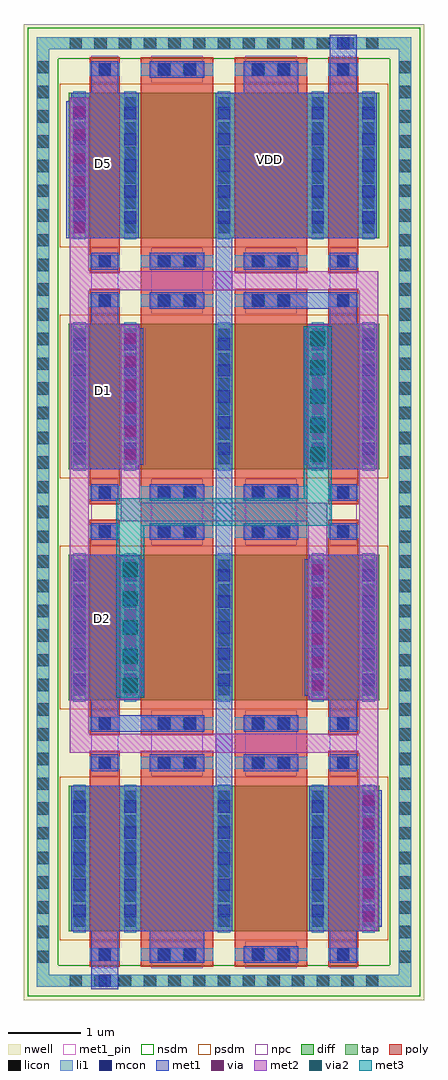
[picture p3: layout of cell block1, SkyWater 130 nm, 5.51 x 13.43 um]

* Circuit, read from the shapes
.subckt block1 D1 D2 D5 VDD
XM1 VDD VDD VDD VDD sky130_fd_pr__pfet_01v8 w=2 l=0.41 m=2
XM2 D2 D2 D2 VDD sky130_fd_pr__pfet_01v8 w=2 l=0.41 m=2
XM3 D1 D1 D1 VDD sky130_fd_pr__pfet_01v8 w=2 l=0.41 m=2
XM4 D5 D5 D5 VDD sky130_fd_pr__pfet_01v8 w=2 l=0.41 m=2
XM5 VDD VDD VDD VDD sky130_fd_pr__pfet_01v8 w=2 l=1 m=2
XM6 VDD D2 D2 VDD sky130_fd_pr__pfet_01v8 w=2 l=1 m=2
XM7 VDD D2 D1 VDD sky130_fd_pr__pfet_01v8 w=2 l=1 m=2
XM8 VDD D2 D5 VDD sky130_fd_pr__pfet_01v8 w=2 l=1 m=2
.ends

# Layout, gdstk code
import gdstk
lib = gdstk.Library(unit=1e-6, precision=1e-09)
def R(c, l, rs):  # rectangles x0, y0, x1, y1
    for r in rs: c.add(gdstk.rectangle(r[:2], r[2:], *l))
def A(c, l, x, y, w, h, nx, ny, dx, dy):  # array of equal rectangles
    R(c, l, [(x+i*dx, y+j*dy, x+i*dx+w, y+j*dy+h) for i in range(nx) for j in range(ny)])
nwell = (64, 20)
diff = (65, 20)
tap = (65, 44)
poly = (66, 20)
licon = (66, 44)
li1 = (67, 20)
mcon = (67, 44)
met1_pin = (68, 16)
met1 = (68, 20)
via = (68, 44)
met2 = (69, 20)
via2 = (69, 44)
met3 = (70, 20)
nsdm = (93, 44)
psdm = (94, 20)
npc = (95, 20)

sky130_fd_pr__pfet_01v8_ = lib.new_cell('sky130_fd_pr__pfet_01v8_SD2LB7')
A(sky130_fd_pr__pfet_01v8_, nwell, -1.615, -6.27, 3.23, 3, 1, 4, 0, 3.18)
A(sky130_fd_pr__pfet_01v8_, diff, -1.435, -5.77, 2.87, 2, 1, 4, 0, 3.18)
A(sky130_fd_pr__pfet_01v8_, poly, -1.145, -6.255, 1, 2.97, 1, 4, 0, 3.18)
A(sky130_fd_pr__pfet_01v8_, poly, 0.145, -6.255, 1, 2.97, 1, 4, 0, 3.18)
A(sky130_fd_pr__pfet_01v8_, licon, -1.375, -5.705, 0.17, 0.17, 3, 6, 1.29, 0.34)
A(sky130_fd_pr__pfet_01v8_, licon, -1.375, -2.525, 0.17, 0.17, 3, 6, 1.29, 0.34)
A(sky130_fd_pr__pfet_01v8_, licon, -1.375, 0.655, 0.17, 0.17, 3, 6, 1.29, 0.34)
A(sky130_fd_pr__pfet_01v8_, licon, -1.375, 3.835, 0.17, 0.17, 3, 6, 1.29, 0.34)
R(sky130_fd_pr__pfet_01v8_, licon, [(-0.9,-6.175,-0.73,-6.005), (-0.56,-6.175,-0.39,-6.005), (0.39,-6.175,0.56,-6.005), (0.73,-6.175,0.9,-6.005), (-0.9,-3.535,-0.73,-3.365), (-0.56,-3.535,-0.39,-3.365), (0.39,-3.535,0.56,-3.365), (0.73,-3.535,0.9,-3.365), (-0.9,-2.995,-0.73,-2.825), (-0.56,-2.995,-0.39,-2.825), (0.39,-2.995,0.56,-2.825), (0.73,-2.995,0.9,-2.825), (-0.9,-0.355,-0.73,-0.185), (-0.56,-0.355,-0.39,-0.185), (0.39,-0.355,0.56,-0.185), (0.73,-0.355,0.9,-0.185), (-0.9,0.185,-0.73,0.355), (-0.56,0.185,-0.39,0.355), (0.39,0.185,0.56,0.355), (0.73,0.185,0.9,0.355), (-0.9,2.825,-0.73,2.995), (-0.56,2.825,-0.39,2.995), (0.39,2.825,0.56,2.995), (0.73,2.825,0.9,2.995), (-0.9,3.365,-0.73,3.535), (-0.56,3.365,-0.39,3.535), (0.39,3.365,0.56,3.535), (0.73,3.365,0.9,3.535), (-0.9,6.005,-0.73,6.175), (-0.56,6.005,-0.39,6.175), (0.39,6.005,0.56,6.175), (0.73,6.005,0.9,6.175)])
A(sky130_fd_pr__pfet_01v8_, li1, -1.375, -5.79, 0.17, 2.04, 3, 4, 1.29, 3.18)
R(sky130_fd_pr__pfet_01v8_, li1, [(-1.145,-6.175,-0.145,-6.005), (0.145,-6.175,1.145,-6.005), (-1.145,-3.535,-0.145,-3.365), (0.145,-3.535,1.145,-3.365), (-1.145,-2.995,-0.145,-2.825), (0.145,-2.995,1.145,-2.825), (-1.145,-0.355,-0.145,-0.185), (0.145,-0.355,1.145,-0.185), (-1.145,0.185,-0.145,0.355), (0.145,0.185,1.145,0.355), (-1.145,2.825,-0.145,2.995), (0.145,2.825,1.145,2.995), (-1.145,3.365,-0.145,3.535), (0.145,3.365,1.145,3.535), (-1.145,6.005,-0.145,6.175), (0.145,6.005,1.145,6.175)])
A(sky130_fd_pr__pfet_01v8_, mcon, -1.375, -5.575, 0.17, 0.17, 3, 5, 1.29, 0.36)
A(sky130_fd_pr__pfet_01v8_, mcon, -1.375, -2.395, 0.17, 0.17, 3, 5, 1.29, 0.36)
A(sky130_fd_pr__pfet_01v8_, mcon, -1.375, 0.785, 0.17, 0.17, 3, 5, 1.29, 0.36)
A(sky130_fd_pr__pfet_01v8_, mcon, -1.375, 3.965, 0.17, 0.17, 3, 5, 1.29, 0.36)
R(sky130_fd_pr__pfet_01v8_, mcon, [(-0.91,-6.175,-0.74,-6.005), (-0.55,-6.175,-0.38,-6.005), (0.38,-6.175,0.55,-6.005), (0.74,-6.175,0.91,-6.005), (-0.91,-3.535,-0.74,-3.365), (-0.55,-3.535,-0.38,-3.365), (0.38,-3.535,0.55,-3.365), (0.74,-3.535,0.91,-3.365), (-0.91,-2.995,-0.74,-2.825), (-0.55,-2.995,-0.38,-2.825), (0.38,-2.995,0.55,-2.825), (0.74,-2.995,0.91,-2.825), (-0.91,-0.355,-0.74,-0.185), (-0.55,-0.355,-0.38,-0.185), (0.38,-0.355,0.55,-0.185), (0.74,-0.355,0.91,-0.185), (-0.91,0.185,-0.74,0.355), (-0.55,0.185,-0.38,0.355), (0.38,0.185,0.55,0.355), (0.74,0.185,0.91,0.355), (-0.91,2.825,-0.74,2.995), (-0.55,2.825,-0.38,2.995), (0.38,2.825,0.55,2.995), (0.74,2.825,0.91,2.995), (-0.91,3.365,-0.74,3.535), (-0.55,3.365,-0.38,3.535), (0.38,3.365,0.55,3.535), (0.74,3.365,0.91,3.535), (-0.91,6.005,-0.74,6.175), (-0.55,6.005,-0.38,6.175), (0.38,6.005,0.55,6.175), (0.74,6.005,0.91,6.175)])
A(sky130_fd_pr__pfet_01v8_, met1, -1.405, -5.77, 0.23, 2, 3, 4, 1.29, 3.18)
R(sky130_fd_pr__pfet_01v8_, met1, [(-1.02,-6.205,-0.27,-5.975), (0.27,-6.205,1.02,-5.975), (-1.02,-3.565,-0.27,-3.335), (0.27,-3.565,1.02,-3.335), (-1.02,-3.025,-0.27,-2.795), (0.27,-3.025,1.02,-2.795), (-1.02,-0.385,-0.27,-0.155), (0.27,-0.385,1.02,-0.155), (-1.02,0.155,-0.27,0.385), (0.27,0.155,1.02,0.385), (-1.02,2.795,-0.27,3.025), (0.27,2.795,1.02,3.025), (-1.02,3.335,-0.27,3.565), (0.27,3.335,1.02,3.565), (-1.02,5.975,-0.27,6.205), (0.27,5.975,1.02,6.205)])
A(sky130_fd_pr__pfet_01v8_, psdm, -1.56, -5.895, 3.12, 2.25, 1, 4, 0, 3.18)
A(sky130_fd_pr__pfet_01v8_, npc, -1, -3.635, 0.71, 0.91, 1, 3, 0, 3.18)
A(sky130_fd_pr__pfet_01v8_, npc, 0.29, -3.635, 0.71, 0.91, 1, 3, 0, 3.18)
R(sky130_fd_pr__pfet_01v8_, npc, [(-1,-6.275,-0.29,-5.905), (0.29,-6.275,1,-5.905), (-1,5.905,-0.29,6.275), (0.29,5.905,1,6.275)])

c_sky130_fd_pr__pfet_01v8_ = lib.new_cell('sky130_fd_pr__pfet_01v8_EZH3Y7')
A(c_sky130_fd_pr__pfet_01v8_, nwell, -0.675, -6.27, 1.35, 3, 1, 4, 0, 3.18)
A(c_sky130_fd_pr__pfet_01v8_, diff, -0.495, -5.77, 0.99, 2, 1, 4, 0, 3.18)
A(c_sky130_fd_pr__pfet_01v8_, poly, -0.205, -6.255, 0.41, 2.97, 1, 4, 0, 3.18)
A(c_sky130_fd_pr__pfet_01v8_, licon, -0.435, -5.705, 0.17, 0.17, 1, 6, 0, 0.34)
A(c_sky130_fd_pr__pfet_01v8_, licon, 0.265, -5.705, 0.17, 0.17, 1, 6, 0, 0.34)
A(c_sky130_fd_pr__pfet_01v8_, licon, -0.435, -2.525, 0.17, 0.17, 1, 6, 0, 0.34)
A(c_sky130_fd_pr__pfet_01v8_, licon, 0.265, -2.525, 0.17, 0.17, 1, 6, 0, 0.34)
A(c_sky130_fd_pr__pfet_01v8_, licon, -0.435, 0.655, 0.17, 0.17, 1, 6, 0, 0.34)
A(c_sky130_fd_pr__pfet_01v8_, licon, 0.265, 0.655, 0.17, 0.17, 1, 6, 0, 0.34)
A(c_sky130_fd_pr__pfet_01v8_, licon, -0.435, 3.835, 0.17, 0.17, 1, 6, 0, 0.34)
A(c_sky130_fd_pr__pfet_01v8_, licon, 0.265, 3.835, 0.17, 0.17, 1, 6, 0, 0.34)
R(c_sky130_fd_pr__pfet_01v8_, licon, [(-0.085,-6.175,0.085,-6.005), (-0.085,-3.535,0.085,-3.365), (-0.085,-2.995,0.085,-2.825), (-0.085,-0.355,0.085,-0.185), (-0.085,0.185,0.085,0.355), (-0.085,2.825,0.085,2.995), (-0.085,3.365,0.085,3.535), (-0.085,6.005,0.085,6.175)])
A(c_sky130_fd_pr__pfet_01v8_, li1, -0.435, -5.79, 0.17, 2.04, 1, 4, 0, 3.18)
A(c_sky130_fd_pr__pfet_01v8_, li1, 0.265, -5.79, 0.17, 2.04, 1, 4, 0, 3.18)
R(c_sky130_fd_pr__pfet_01v8_, li1, [(-0.205,-6.175,0.205,-6.005), (-0.205,-3.535,0.205,-3.365), (-0.205,-2.995,0.205,-2.825), (-0.205,-0.355,0.205,-0.185), (-0.205,0.185,0.205,0.355), (-0.205,2.825,0.205,2.995), (-0.205,3.365,0.205,3.535), (-0.205,6.005,0.205,6.175)])
A(c_sky130_fd_pr__pfet_01v8_, mcon, -0.435, -5.575, 0.17, 0.17, 1, 5, 0, 0.36)
A(c_sky130_fd_pr__pfet_01v8_, mcon, 0.265, -5.575, 0.17, 0.17, 1, 5, 0, 0.36)
A(c_sky130_fd_pr__pfet_01v8_, mcon, -0.435, -2.395, 0.17, 0.17, 1, 5, 0, 0.36)
A(c_sky130_fd_pr__pfet_01v8_, mcon, 0.265, -2.395, 0.17, 0.17, 1, 5, 0, 0.36)
A(c_sky130_fd_pr__pfet_01v8_, mcon, -0.435, 0.785, 0.17, 0.17, 1, 5, 0, 0.36)
A(c_sky130_fd_pr__pfet_01v8_, mcon, 0.265, 0.785, 0.17, 0.17, 1, 5, 0, 0.36)
A(c_sky130_fd_pr__pfet_01v8_, mcon, -0.435, 3.965, 0.17, 0.17, 1, 5, 0, 0.36)
A(c_sky130_fd_pr__pfet_01v8_, mcon, 0.265, 3.965, 0.17, 0.17, 1, 5, 0, 0.36)
R(c_sky130_fd_pr__pfet_01v8_, mcon, [(-0.085,-6.175,0.085,-6.005), (-0.085,-3.535,0.085,-3.365), (-0.085,-2.995,0.085,-2.825), (-0.085,-0.355,0.085,-0.185), (-0.085,0.185,0.085,0.355), (-0.085,2.825,0.085,2.995), (-0.085,3.365,0.085,3.535), (-0.085,6.005,0.085,6.175)])
A(c_sky130_fd_pr__pfet_01v8_, met1, -0.465, -5.77, 0.23, 2, 1, 4, 0, 3.18)
A(c_sky130_fd_pr__pfet_01v8_, met1, 0.235, -5.77, 0.23, 2, 1, 4, 0, 3.18)
R(c_sky130_fd_pr__pfet_01v8_, met1, [(-0.185,-6.205,0.185,-5.975), (-0.185,-3.565,0.185,-3.335), (-0.185,-3.025,0.185,-2.795), (-0.185,-0.385,0.185,-0.155), (-0.185,0.155,0.185,0.385), (-0.185,2.795,0.185,3.025), (-0.185,3.335,0.185,3.565), (-0.185,5.975,0.185,6.205)])
A(c_sky130_fd_pr__pfet_01v8_, psdm, -0.62, -5.895, 1.24, 2.25, 1, 4, 0, 3.18)
A(c_sky130_fd_pr__pfet_01v8_, npc, -0.185, -3.635, 0.37, 0.91, 1, 3, 0, 3.18)
R(c_sky130_fd_pr__pfet_01v8_, npc, [(-0.185,-6.275,0.185,-5.905), (-0.185,5.905,0.185,6.275)])

block1 = lib.new_cell('block1')
R(block1, nwell, [(-1.14,-0.445,4.37,12.985)])
R(block1, tap, [(-0.96,-0.265,4.19,-0.095), (-0.96,-0.095,-0.79,12.635), (4.02,-0.095,4.19,12.635), (-0.96,12.635,4.19,12.805)])
R(block1, poly, [(1.76,0.015,2.76,9.345), (0.47,3.2,1.47,12.525)])
A(block1, licon, -0.51, -0.265, 0.17, 0.17, 13, 2, 0.34, 12.9)
A(block1, licon, -0.96, 0.065, 0.17, 0.17, 1, 37, 0, 0.34)
A(block1, licon, 4.02, 0.065, 0.17, 0.17, 1, 37, 0, 0.34)
R(block1, li1, [(-0.96,-0.265,4.19,-0.095), (-0.96,-0.095,-0.79,12.635), (4.02,-0.095,4.19,12.635), (-0.96,12.635,4.19,12.805)])
R(block1, mcon, [(-0.11,-0.265,0.06,-0.095), (3.17,12.635,3.34,12.805)])
R(block1, met1_pin, [(-0.05,11.07,-0.045,11.075), (2.24,11.115,2.245,11.12)])
R(block1, met1, [(-0.21,-0.295,0.16,0.5), (3.07,0.065,3.44,0.5), (0.595,0.07,1.345,0.5), (-0.49,0.5,1.73,2.5), (2.79,0.5,3.72,0.56), (2.79,0.56,3.785,2.44), (2.79,2.44,3.72,2.5), (1.5,2.5,1.73,10.04), (-0.21,3.245,1.345,3.475), (3.07,3.245,3.44,3.68), (-0.21,3.475,0.16,3.68), (-0.49,3.68,0.44,3.74), (2.79,3.68,3.72,3.74), (-0.49,3.74,0.505,5.62), (2.725,3.74,3.72,5.62), (-0.49,5.62,0.44,5.68), (2.79,5.62,3.72,5.68), (-0.49,6.86,0.44,6.92), (2.79,6.86,3.72,6.92), (-0.49,6.92,0.505,8.8), (2.725,6.92,3.72,8.8), (-0.49,8.8,0.44,8.86), (2.79,8.8,3.72,8.86), (-0.21,8.86,0.16,9.295), (3.07,8.86,3.44,9.065), (1.885,9.065,3.44,9.295), (-0.555,10.04,0.44,11.92), (1.5,10.04,3.72,12.04), (-0.49,11.92,0.44,12.04), (-0.21,12.04,0.16,12.475), (1.885,12.04,2.635,12.475), (3.07,12.04,3.44,12.835)])
A(block1, via, 3.53, 0.625, 0.15, 0.15, 1, 6, 0, 0.32)
A(block1, via, 0.25, 3.805, 0.15, 0.15, 1, 6, 0, 0.32)
A(block1, via, 2.83, 3.805, 0.15, 0.15, 1, 6, 0, 0.32)
A(block1, via, 0.25, 6.985, 0.15, 0.15, 1, 6, 0, 0.32)
A(block1, via, 2.83, 6.985, 0.15, 0.15, 1, 6, 0, 0.32)
A(block1, via, -0.45, 10.105, 0.15, 0.15, 1, 6, 0, 0.32)
R(block1, met2, [(3.475,0.51,3.735,2.96), (-0.505,2.96,3.735,3.22), (-0.505,3.22,-0.245,9.32), (3.475,3.22,3.735,9.32), (0.185,3.69,0.465,5.67), (2.775,3.69,3.035,6.14), (0.195,6.14,3.035,6.4), (0.195,6.4,0.455,8.85), (2.765,6.87,3.045,8.85), (-0.505,9.32,3.735,9.58), (-0.505,9.58,-0.245,11.97)])
A(block1, via2, 0.225, 3.78, 0.2, 0.2, 1, 5, 0, 0.4)
A(block1, via2, 2.805, 6.96, 0.2, 0.2, 1, 5, 0, 0.4)
R(block1, met3, [(0.135,3.715,0.515,6.08), (0.135,6.08,3.095,6.46), (2.715,6.46,3.095,8.825)])
R(block1, nsdm, [(-1.085,-0.39,4.315,0.03), (-1.085,0.03,-0.665,12.51), (3.895,0.03,4.315,12.51), (-1.085,12.51,4.315,12.93)])
block1.add(gdstk.Reference(sky130_fd_pr__pfet_01v8_, (1.615,6.27)))
block1.add(gdstk.Reference(c_sky130_fd_pr__pfet_01v8_, (-0.025,6.27)))
block1.add(gdstk.Reference(c_sky130_fd_pr__pfet_01v8_, (3.255,6.27)))
block1.add(gdstk.Label('VDD', (2.242,11.117), layer=68, texttype=5))
block1.add(gdstk.Label('D5', (-0.047,11.072), layer=68, texttype=5))
block1.add(gdstk.Label('D1', (-0.04,7.935), layer=68, texttype=5))
block1.add(gdstk.Label('D2', (-0.06,4.8), layer=68, texttype=5))

lib.write_gds('block1.gds')
